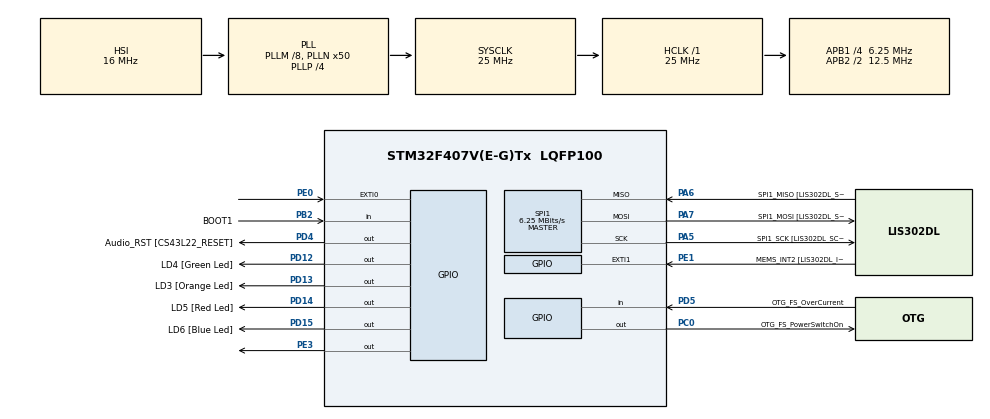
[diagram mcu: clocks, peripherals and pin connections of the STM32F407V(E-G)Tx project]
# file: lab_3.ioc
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Mcu.Family=STM32F4
Mcu.Name=STM32F407V(E-G)Tx
Mcu.Package=LQFP100
NVIC.PriorityGroup=NVIC_PRIORITYGROUP_4
NVIC.TIM7_IRQn=true\:0\:0\:false\:false\:true\:false\:true\:true
NVIC.TimeBase=TIM7_IRQn
NVIC.TimeBaseIP=TIM7
PA10.GPIO_Label=OTG_FS_ID
PA10.GPIO_Mode=GPIO_MODE_AF_PP
PA10.GPIO_PuPd=GPIO_NOPULL
PA10.GPIO_Speed=GPIO_SPEED_FREQ_LOW
PA10.Signal=USB_OTG_FS_ID
PA11.GPIO_Label=OTG_FS_DM
PA11.GPIO_Mode=GPIO_MODE_AF_PP
PA11.GPIO_PuPd=GPIO_NOPULL
PA11.GPIO_Speed=GPIO_SPEED_FREQ_LOW
PA11.Signal=USB_OTG_FS_DM
PA12.GPIO_Label=OTG_FS_DP
PA12.GPIO_Mode=GPIO_MODE_AF_PP
PA12.GPIO_PuPd=GPIO_NOPULL
PA12.GPIO_Speed=GPIO_SPEED_FREQ_LOW
PA12.Signal=USB_OTG_FS_DP
PA13.GPIO_Label=SWDIO
PA13.Mode=Serial_Wire
PA13.Signal=SYS_JTMS-SWDIO
PA14.GPIO_Label=SWCLK
PA14.Mode=Serial_Wire
PA14.Signal=SYS_JTCK-SWCLK
PA4.GPIO_Label=I2S3_WS [CS43L22_LRCK]
PA4.GPIO_Mode=GPIO_MODE_AF_PP
PA4.GPIO_PuPd=GPIO_NOPULL
PA4.GPIO_Speed=GPIO_SPEED_FREQ_LOW
PA4.Signal=I2S3_WS
PA5.GPIO_Label=SPI1_SCK [LIS302DL_SCL/SPC]
PA5.GPIO_Mode=GPIO_MODE_AF_PP
PA5.GPIO_PuPd=GPIO_NOPULL
PA5.GPIO_Speed=GPIO_SPEED_FREQ_LOW
PA5.Mode=Full_Duplex_Master
PA5.Signal=SPI1_SCK
PA6.GPIO_Label=SPI1_MISO [LIS302DL_SDO]
PA6.GPIO_Mode=GPIO_MODE_AF_PP
PA6.GPIO_PuPd=GPIO_NOPULL
PA6.GPIO_Speed=GPIO_SPEED_FREQ_LOW
PA6.Mode=Full_Duplex_Master
PA6.Signal=SPI1_MISO
PA7.GPIO_Label=SPI1_MOSI [LIS302DL_SDA/SDI/SDO]
PA7.GPIO_Mode=GPIO_MODE_AF_PP
PA7.GPIO_PuPd=GPIO_NOPULL
PA7.GPIO_Speed=GPIO_SPEED_FREQ_LOW
PA7.Mode=Full_Duplex_Master
PA7.Signal=SPI1_MOSI
PA9.GPIO_Label=VBUS_FS
PA9.GPIO_Mode=GPIO_MODE_INPUT
PA9.GPIO_PuPd=GPIO_NOPULL
PA9.Signal=USB_OTG_FS_VBUS
PB10.GPIO_Label=CLK_IN [MP45DT02_CLK]
PB10.GPIO_Mode=GPIO_MODE_AF_PP
PB10.GPIO_PuPd=GPIO_NOPULL
PB10.GPIO_Speed=GPIO_SPEED_FREQ_LOW
PB10.Signal=I2S2_CK
PB2.GPIO_Label=BOOT1
PB2.GPIO_Mode=GPIO_MODE_INPUT
PB2.GPIO_PuPd=GPIO_NOPULL
PB2.Signal=GPIO_Input
PB3.GPIO_Label=SWO
PB3.Signal=SYS_JTDO-SWO
PB6.GPIO_Label=Audio_SCL [CS43L22_SCL]
PB6.GPIO_Mode=GPIO_MODE_AF_OD
PB6.GPIO_PuPd=GPIO_NOPULL
PB6.GPIO_Speed=GPIO_SPEED_FREQ_LOW
PB6.Signal=I2C1_SCL
PB9.GPIO_Label=Audio_SDA [CS43L22_SDA]
PB9.GPIO_Mode=GPIO_MODE_AF_OD
PB9.GPIO_PuPd=GPIO_NOPULL
PB9.GPIO_Speed=GPIO_SPEED_FREQ_LOW
PB9.Signal=I2C1_SDA
PC0.GPIO_Label=OTG_FS_PowerSwitchOn
PC0.GPIO_PuPd=GPIO_NOPULL
PC0.GPIO_Speed=GPIO_SPEED_FREQ_LOW
PC0.PinState=GPIO_PIN_SET
PC0.Signal=GPIO_Output
PC10.GPIO_Label=I2S3_SCK [CS43L22_SCLK]
PC10.GPIO_Mode=GPIO_MODE_AF_PP
PC10.GPIO_PuPd=GPIO_NOPULL
PC10.GPIO_Speed=GPIO_SPEED_FREQ_LOW
PC10.Signal=I2S3_CK
PC12.GPIO_Label=I2S3_SD [CS43L22_SDIN]
PC12.GPIO_Mode=GPIO_MODE_AF_PP
PC12.GPIO_PuPd=GPIO_NOPULL
PC12.GPIO_Speed=GPIO_SPEED_FREQ_LOW
PC12.Signal=I2S3_SD
PC14-OSC32_IN.GPIO_Label=PC14-OSC32_IN
PC14-OSC32_IN.Signal=RCC_OSC32_IN
PC15-OSC32_OUT.GPIO_Label=PC15-OSC32_OUT
PC15-OSC32_OUT.Signal=RCC_OSC32_OUT
PC3.GPIO_Label=PDM_OUT [MP45DT02_DOUT]
PC3.GPIO_Mode=GPIO_MODE_AF_PP
PC3.GPIO_PuPd=GPIO_NOPULL
PC3.GPIO_Speed=GPIO_SPEED_FREQ_LOW
PC3.Signal=I2S2_SD
PC7.GPIO_Label=I2S3_MCK [CS43L22_MCLK]
PC7.GPIO_Mode=GPIO_MODE_AF_PP
PC7.GPIO_PuPd=GPIO_NOPULL
PC7.GPIO_Speed=GPIO_SPEED_FREQ_LOW
PC7.Signal=I2S3_MCK
PD12.GPIO_Label=LD4 [Green Led]
PD12.GPIO_PuPd=GPIO_NOPULL
PD12.GPIO_Speed=GPIO_SPEED_FREQ_LOW
PD12.Signal=GPIO_Output
PD13.GPIO_Label=LD3 [Orange Led]
PD13.GPIO_PuPd=GPIO_NOPULL
PD13.GPIO_Speed=GPIO_SPEED_FREQ_LOW
PD13.Signal=GPIO_Output
PD14.GPIO_Label=LD5 [Red Led]
PD14.GPIO_PuPd=GPIO_NOPULL
PD14.GPIO_Speed=GPIO_SPEED_FREQ_LOW
PD14.Signal=GPIO_Output
PD15.GPIO_Label=LD6 [Blue Led]
PD15.GPIO_PuPd=GPIO_NOPULL
PD15.GPIO_Speed=GPIO_SPEED_FREQ_LOW
PD15.Signal=GPIO_Output
PD4.GPIO_Label=Audio_RST [CS43L22_RESET]
PD4.GPIO_PuPd=GPIO_NOPULL
PD4.GPIO_Speed=GPIO_SPEED_FREQ_LOW
PD4.Signal=GPIO_Output
PD5.GPIO_Label=OTG_FS_OverCurrent
PD5.GPIO_Mode=GPIO_MODE_INPUT
PD5.GPIO_PuPd=GPIO_NOPULL
PD5.Signal=GPIO_Input
PE0.Signal=GPXTI0
PE1.GPIO_Label=MEMS_INT2 [LIS302DL_INT2]
PE1.GPIO_ModeDefaultEXTI=GPIO_MODE_EVT_RISING
PE1.GPIO_PuPd=GPIO_NOPULL
PE1.Signal=GPXTI1
PE3.Signal=GPIO_Output
PH0-OSC_IN.GPIO_Label=PH0-OSC_IN
PH0-OSC_IN.Signal=RCC_OSC_IN
PH1-OSC_OUT.GPIO_Label=PH1-OSC_OUT
PH1-OSC_OUT.Signal=RCC_OSC_OUT
ProjectManager.HeapSize=0x200
ProjectManager.StackSize=0x400
ProjectManager.TargetToolchain=STM32CubeIDE
RCC.48MHZClocksFreq_Value=14285714.285714285
RCC.AHBFreq_Value=25000000
RCC.APB1CLKDivider=RCC_HCLK_DIV4
RCC.APB1Freq_Value=6250000
RCC.APB1TimFreq_Value=12500000
RCC.APB2CLKDivider=RCC_HCLK_DIV2
RCC.APB2Freq_Value=12500000
RCC.APB2TimFreq_Value=25000000
RCC.CortexFreq_Value=25000000
RCC.HCLKFreq_Value=25000000
RCC.HSE_VALUE=8000000
RCC.HSI_VALUE=16000000
RCC.LSE_VALUE=32768
RCC.PLLM=8
RCC.PLLN=50
RCC.PLLP=RCC_PLLP_DIV4
RCC.PLLQ=7
RCC.SYSCLKFreq_VALUE=25000000
RCC.SYSCLKSource=RCC_SYSCLKSOURCE_PLLCLK
RCC.VCOOutputFreq_Value=100000000
SPI1.CalculateBaudRate=6.25 MBits/s
SPI1.Direction=SPI_DIRECTION_2LINES
SPI1.Mode=SPI_MODE_MASTER
SPI1.VirtualType=VM_MASTER
VP_SYS_VS_tim7.Mode=TIM7
board=STM32F407G-DISC1

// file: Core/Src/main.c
/* USER CODE BEGIN Header */
/**
  ******************************************************************************
  * @file           : main.c
  * @brief          : Main program body
  ******************************************************************************
  * @attention
  *
  * <h2><center>&copy; Copyright (c) 2021 STMicroelectronics.
  * All rights reserved.</center></h2>
  *
  * This software component is licensed by ST under BSD 3-Clause license,
  * the "License"; You may not use this file except in compliance with the
  * License. You may obtain a copy of the License at:
  *                        opensource.org/licenses/BSD-3-Clause
  *
  ******************************************************************************
  */
/* USER CODE END Header */
#include "main.h"

/* USER CODE BEGIN Includes */
#include "FreeRTOS.h"
#include "task.h"
#include "semphr.h"
/* USER CODE END Includes */

/* USER CODE BEGIN PM */
#define LIS3DSH_WHO_AM_I_ADDR                0x0F
#define LIS3DSH_STAT_ADDR                    0x18
#define LIS3DSH_CTRL_REG4_ADDR               0x20
#define LIS3DSH_CTRL_REG1_ADDR               0x21
#define LIS3DSH_CTRL_REG2_ADDR               0x22
#define LIS3DSH_CTRL_REG3_ADDR               0x23
#define LIS3DSH_CTRL_REG5_ADDR               0x24
#define LIS3DSH_CTRL_REG6_ADDR               0x25

#define LIS3DSH_STATUS_ADDR                  0x27

#define LIS3DSH_OUT_X_L_ADDR                 0x28
#define LIS3DSH_OUT_X_H_ADDR                 0x29
#define LIS3DSH_OUT_Y_L_ADDR                 0x2A
#define LIS3DSH_OUT_Y_H_ADDR                 0x2B
#define LIS3DSH_OUT_Z_L_ADDR                 0x2C
#define LIS3DSH_OUT_Z_H_ADDR                 0x2D

#define LIS3DSH_ST1_1_ADDR                   0x40
#define LIS3DSH_ST1_2_ADDR                   0x41
#define LIS3DSH_THRS1_1_ADDR                 0x57
#define LIS3DSH_MASK1_B_ADDR                 0x59
#define LIS3DSH_MASK1_A_ADDR                 0x5A
#define LIS3DSH_SETT1_ADDR                   0x5B
#define LIS3DSH_OUTS1_ADDR                   0x5F
/* USER CODE END PM */

SPI_HandleTypeDef hspi1;

/* USER CODE BEGIN PV */
uint8_t data;
SemaphoreHandle_t xShakeSemaphore;
//TaskHandle_t xGreenTaskHandle;
//TaskHandle_t xHandlerTaskHandle;
/* USER CODE END PV */

void SystemClock_Config(void);
static void MX_GPIO_Init(void);
static void MX_SPI1_Init(void);

/* USER CODE BEGIN 0 */
void MEMS_Write(uint8_t address,uint8_t data){
	HAL_GPIO_WritePin(GPIOE, GPIO_PIN_3, GPIO_PIN_RESET);
	HAL_SPI_Transmit(&hspi1,&address,1,10);
	HAL_SPI_Transmit(&hspi1,&data,1,10);
	HAL_GPIO_WritePin(GPIOE, GPIO_PIN_3,GPIO_PIN_SET);
}
void MEMS_Read(uint8_t address,uint8_t *data){
    address |= 0x80;
	HAL_GPIO_WritePin(GPIOE,GPIO_PIN_3,GPIO_PIN_RESET);
	HAL_SPI_Transmit(&hspi1,&address,1,10);
	HAL_SPI_Receive(&hspi1,data,1,10);
	HAL_GPIO_WritePin(GPIOE,GPIO_PIN_3,GPIO_PIN_SET);
}

volatile uint8_t orangeBlinking = 0;

void Green_LED_Task(void *pvParameters){
    for(;;)
    {
        if(!orangeBlinking){
            HAL_GPIO_TogglePin(GPIOD, GPIO_PIN_12);
        } else {
            // Ensure green LED is off
            HAL_GPIO_WritePin(GPIOD, GPIO_PIN_12, GPIO_PIN_RESET);
        }
        vTaskDelay(pdMS_TO_TICKS(500));
    }
}

void vHandlerTask(void *pvParameters){
    uint8_t dummy;
    for(;;)
    {
        if (xSemaphoreTake(xShakeSemaphore, portMAX_DELAY) == pdTRUE)
//    	if (ulTaskNotifyTake(pdTRUE, portMAX_DELAY) != 0)
        {
            // Disable interrupt
            HAL_NVIC_DisableIRQ(EXTI0_IRQn);

            orangeBlinking = 1;
            HAL_GPIO_WritePin(GPIOD, GPIO_PIN_12, GPIO_PIN_RESET);

            // Orange LED blinking 5 times
            for(int i = 0; i < 5; i++) {
                HAL_GPIO_WritePin(GPIOD, GPIO_PIN_13, GPIO_PIN_SET);
                vTaskDelay(pdMS_TO_TICKS(200));
                HAL_GPIO_WritePin(GPIOD, GPIO_PIN_13, GPIO_PIN_RESET);
                vTaskDelay(pdMS_TO_TICKS(200));
            }

            // Clear the sensor interrupt status
            MEMS_Read(LIS3DSH_OUTS1_ADDR, &dummy);
            __HAL_GPIO_EXTI_CLEAR_IT(GPIO_PIN_0);

            orangeBlinking = 0;

            // Enable interrupt
            HAL_NVIC_EnableIRQ(EXTI0_IRQn);
        }
    }
}

void HAL_GPIO_EXTI_Callback(uint16_t GPIO_Pin){
	// Ensure the interrupt is from PE0
	if(GPIO_Pin == GPIO_PIN_0)
	{
		/* Red LED toggle (PD14) */
		HAL_GPIO_TogglePin(GPIOD, GPIO_PIN_14);

		/* Give the semaphore to unblock the handler task */
		BaseType_t xHigherPriorityTaskWoken = pdFALSE; // default: no Context Switch
		xSemaphoreGiveFromISR(xShakeSemaphore, &xHigherPriorityTaskWoken);
//		vTaskNotifyGiveFromISR(xHandlerTaskHandle, &xHigherPriorityTaskWoken);

		/* Request a context switch if a higher priority task was woken. */
		portYIELD_FROM_ISR(xHigherPriorityTaskWoken);
	}
}

void EXTI0_IRQHandler(void)
{
    /* EXTI line 0 interrupt handler.
       Clears the pending flag and triggers the HAL callback. */
    HAL_GPIO_EXTI_IRQHandler(GPIO_PIN_0);
}
/* USER CODE END 0 */

int main(void)
{

  /* MCU Configuration--------------------------------------------------------*/

  /* Reset of all peripherals, Initializes the Flash interface and the Systick. */
  HAL_Init();

  /* Configure the system clock */
  SystemClock_Config();

  /* Initialize all configured peripherals */
  MX_GPIO_Init();
  MX_SPI1_Init();
  /* USER CODE BEGIN 2 */
  MEMS_Write(LIS3DSH_CTRL_REG4_ADDR, 0x67);
  MEMS_Write(LIS3DSH_CTRL_REG3_ADDR, 0x48);
  MEMS_Write(LIS3DSH_THRS1_1_ADDR, 0x90);
  MEMS_Write(LIS3DSH_MASK1_B_ADDR, 0xF0);  // P_X, N_X, P_Y, N_Y = 1, P_Z, N_Z = 0
  MEMS_Write(LIS3DSH_MASK1_A_ADDR, 0xF0);
  MEMS_Write(LIS3DSH_SETT1_ADDR, 0x01);
  MEMS_Write(LIS3DSH_ST1_1_ADDR, 0x05);
  MEMS_Write(LIS3DSH_ST1_2_ADDR, 0x11);
  MEMS_Write(LIS3DSH_CTRL_REG1_ADDR, 0x01);

  // Create the semaphore
  xShakeSemaphore = xSemaphoreCreateBinary();

  uint8_t init_dummy;
  MEMS_Read(LIS3DSH_OUTS1_ADDR, &init_dummy);
  __HAL_GPIO_EXTI_CLEAR_IT(GPIO_PIN_0);

  HAL_NVIC_SetPriority(EXTI0_IRQn, configLIBRARY_MAX_SYSCALL_INTERRUPT_PRIORITY, 0);
  HAL_NVIC_EnableIRQ(EXTI0_IRQn);

  // Task create
  xTaskCreate(Green_LED_Task, "GreenTask", 128, NULL, 1, NULL);
  xTaskCreate(vHandlerTask, "HandlerTask", 128, NULL, 2, NULL);
//  xTaskCreate(Green_LED_Task, "GreenTask", 128, NULL, 1, &xGreenTaskHandle);
//  xTaskCreate(vHandlerTask, "HandlerTask", 128, NULL, 2, &xHandlerTaskHandle);
  vTaskStartScheduler();
  /* USER CODE END 2 */

  /* Infinite loop */
  while (1)
  {

  }
}

void SystemClock_Config(void)
{
  RCC_OscInitTypeDef RCC_OscInitStruct = {0};
  RCC_ClkInitTypeDef RCC_ClkInitStruct = {0};

  /** Configure the main internal regulator output voltage
  */
  __HAL_RCC_PWR_CLK_ENABLE();
  __HAL_PWR_VOLTAGESCALING_CONFIG(PWR_REGULATOR_VOLTAGE_SCALE1);

  /** Initializes the RCC Oscillators according to the specified parameters
  * in the RCC_OscInitTypeDef structure.
  */
  RCC_OscInitStruct.OscillatorType = RCC_OSCILLATORTYPE_HSI;
  RCC_OscInitStruct.HSIState = RCC_HSI_ON;
  RCC_OscInitStruct.HSICalibrationValue = RCC_HSICALIBRATION_DEFAULT;
  RCC_OscInitStruct.PLL.PLLState = RCC_PLL_ON;
  RCC_OscInitStruct.PLL.PLLSource = RCC_PLLSOURCE_HSI;
  RCC_OscInitStruct.PLL.PLLM = 8;
  RCC_OscInitStruct.PLL.PLLN = 50;
  RCC_OscInitStruct.PLL.PLLP = RCC_PLLP_DIV4;
  RCC_OscInitStruct.PLL.PLLQ = 7;
  if (HAL_RCC_OscConfig(&RCC_OscInitStruct) != HAL_OK)
  {
    Error_Handler();
  }

  /** Initializes the CPU, AHB and APB buses clocks
  */
  RCC_ClkInitStruct.ClockType = RCC_CLOCKTYPE_HCLK|RCC_CLOCKTYPE_SYSCLK
                              |RCC_CLOCKTYPE_PCLK1|RCC_CLOCKTYPE_PCLK2;
  RCC_ClkInitStruct.SYSCLKSource = RCC_SYSCLKSOURCE_PLLCLK;
  RCC_ClkInitStruct.AHBCLKDivider = RCC_SYSCLK_DIV1;
  RCC_ClkInitStruct.APB1CLKDivider = RCC_HCLK_DIV4;
  RCC_ClkInitStruct.APB2CLKDivider = RCC_HCLK_DIV2;

  if (HAL_RCC_ClockConfig(&RCC_ClkInitStruct, FLASH_LATENCY_0) != HAL_OK)
  {
    Error_Handler();
  }
}

static void MX_SPI1_Init(void)
{

  /* SPI1 parameter configuration*/
  hspi1.Instance = SPI1;
  hspi1.Init.Mode = SPI_MODE_MASTER;
  hspi1.Init.Direction = SPI_DIRECTION_2LINES;
  hspi1.Init.DataSize = SPI_DATASIZE_8BIT;
  hspi1.Init.CLKPolarity = SPI_POLARITY_LOW;
  hspi1.Init.CLKPhase = SPI_PHASE_1EDGE;
  hspi1.Init.NSS = SPI_NSS_SOFT;
  hspi1.Init.BaudRatePrescaler = SPI_BAUDRATEPRESCALER_2;
  hspi1.Init.FirstBit = SPI_FIRSTBIT_MSB;
  hspi1.Init.TIMode = SPI_TIMODE_DISABLE;
  hspi1.Init.CRCCalculation = SPI_CRCCALCULATION_DISABLE;
  hspi1.Init.CRCPolynomial = 10;
  if (HAL_SPI_Init(&hspi1) != HAL_OK)
  {
    Error_Handler();
  }

}

static void MX_GPIO_Init(void)
{
  GPIO_InitTypeDef GPIO_InitStruct = {0};

  /* GPIO Ports Clock Enable */
  __HAL_RCC_GPIOE_CLK_ENABLE();
  __HAL_RCC_GPIOC_CLK_ENABLE();
  __HAL_RCC_GPIOH_CLK_ENABLE();
  __HAL_RCC_GPIOA_CLK_ENABLE();
  __HAL_RCC_GPIOB_CLK_ENABLE();
  __HAL_RCC_GPIOD_CLK_ENABLE();

  /*Configure GPIO pin Output Level */
  HAL_GPIO_WritePin(GPIOE, GPIO_PIN_3, GPIO_PIN_RESET);

  /*Configure GPIO pin Output Level */
  HAL_GPIO_WritePin(OTG_FS_PowerSwitchOn_GPIO_Port, OTG_FS_PowerSwitchOn_Pin, GPIO_PIN_SET);

  /*Configure GPIO pin Output Level */
  HAL_GPIO_WritePin(GPIOD, LD4_Pin|LD3_Pin|LD5_Pin|LD6_Pin
                          |Audio_RST_Pin, GPIO_PIN_RESET);

  /*Configure GPIO pin : PE3 */
  GPIO_InitStruct.Pin = GPIO_PIN_3;
  GPIO_InitStruct.Mode = GPIO_MODE_OUTPUT_PP;
  GPIO_InitStruct.Pull = GPIO_NOPULL;
  GPIO_InitStruct.Speed = GPIO_SPEED_FREQ_LOW;
  HAL_GPIO_Init(GPIOE, &GPIO_InitStruct);

  /*Configure GPIO pin : OTG_FS_PowerSwitchOn_Pin */
  GPIO_InitStruct.Pin = OTG_FS_PowerSwitchOn_Pin;
  GPIO_InitStruct.Mode = GPIO_MODE_OUTPUT_PP;
  GPIO_InitStruct.Pull = GPIO_NOPULL;
  GPIO_InitStruct.Speed = GPIO_SPEED_FREQ_LOW;
  HAL_GPIO_Init(OTG_FS_PowerSwitchOn_GPIO_Port, &GPIO_InitStruct);

  /*Configure GPIO pin : PDM_OUT_Pin */
  GPIO_InitStruct.Pin = PDM_OUT_Pin;
  GPIO_InitStruct.Mode = GPIO_MODE_AF_PP;
  GPIO_InitStruct.Pull = GPIO_NOPULL;
  GPIO_InitStruct.Speed = GPIO_SPEED_FREQ_LOW;
  GPIO_InitStruct.Alternate = GPIO_AF5_SPI2;
  HAL_GPIO_Init(PDM_OUT_GPIO_Port, &GPIO_InitStruct);

  /*Configure GPIO pin : I2S3_WS_Pin */
  GPIO_InitStruct.Pin = I2S3_WS_Pin;
  GPIO_InitStruct.Mode = GPIO_MODE_AF_PP;
  GPIO_InitStruct.Pull = GPIO_NOPULL;
  GPIO_InitStruct.Speed = GPIO_SPEED_FREQ_LOW;
  GPIO_InitStruct.Alternate = GPIO_AF6_SPI3;
  HAL_GPIO_Init(I2S3_WS_GPIO_Port, &GPIO_InitStruct);

  /*Configure GPIO pin : BOOT1_Pin */
  GPIO_InitStruct.Pin = BOOT1_Pin;
  GPIO_InitStruct.Mode = GPIO_MODE_INPUT;
  GPIO_InitStruct.Pull = GPIO_NOPULL;
  HAL_GPIO_Init(BOOT1_GPIO_Port, &GPIO_InitStruct);

  /*Configure GPIO pin : CLK_IN_Pin */
  GPIO_InitStruct.Pin = CLK_IN_Pin;
  GPIO_InitStruct.Mode = GPIO_MODE_AF_PP;
  GPIO_InitStruct.Pull = GPIO_NOPULL;
  GPIO_InitStruct.Speed = GPIO_SPEED_FREQ_LOW;
  GPIO_InitStruct.Alternate = GPIO_AF5_SPI2;
  HAL_GPIO_Init(CLK_IN_GPIO_Port, &GPIO_InitStruct);

  /*Configure GPIO pins : LD4_Pin LD3_Pin LD5_Pin LD6_Pin
                           Audio_RST_Pin */
  GPIO_InitStruct.Pin = LD4_Pin|LD3_Pin|LD5_Pin|LD6_Pin
                          |Audio_RST_Pin;
  GPIO_InitStruct.Mode = GPIO_MODE_OUTPUT_PP;
  GPIO_InitStruct.Pull = GPIO_NOPULL;
  GPIO_InitStruct.Speed = GPIO_SPEED_FREQ_LOW;
  HAL_GPIO_Init(GPIOD, &GPIO_InitStruct);

  /*Configure GPIO pins : I2S3_MCK_Pin I2S3_SCK_Pin I2S3_SD_Pin */
  GPIO_InitStruct.Pin = I2S3_MCK_Pin|I2S3_SCK_Pin|I2S3_SD_Pin;
  GPIO_InitStruct.Mode = GPIO_MODE_AF_PP;
  GPIO_InitStruct.Pull = GPIO_NOPULL;
  GPIO_InitStruct.Speed = GPIO_SPEED_FREQ_LOW;
  GPIO_InitStruct.Alternate = GPIO_AF6_SPI3;
  HAL_GPIO_Init(GPIOC, &GPIO_InitStruct);

  /*Configure GPIO pin : VBUS_FS_Pin */
  GPIO_InitStruct.Pin = VBUS_FS_Pin;
  GPIO_InitStruct.Mode = GPIO_MODE_INPUT;
  GPIO_InitStruct.Pull = GPIO_NOPULL;
  HAL_GPIO_Init(VBUS_FS_GPIO_Port, &GPIO_InitStruct);

  /*Configure GPIO pins : OTG_FS_ID_Pin OTG_FS_DM_Pin OTG_FS_DP_Pin */
  GPIO_InitStruct.Pin = OTG_FS_ID_Pin|OTG_FS_DM_Pin|OTG_FS_DP_Pin;
  GPIO_InitStruct.Mode = GPIO_MODE_AF_PP;
  GPIO_InitStruct.Pull = GPIO_NOPULL;
  GPIO_InitStruct.Speed = GPIO_SPEED_FREQ_LOW;
  GPIO_InitStruct.Alternate = GPIO_AF10_OTG_FS;
  HAL_GPIO_Init(GPIOA, &GPIO_InitStruct);

  /*Configure GPIO pin : OTG_FS_OverCurrent_Pin */
  GPIO_InitStruct.Pin = OTG_FS_OverCurrent_Pin;
  GPIO_InitStruct.Mode = GPIO_MODE_INPUT;
  GPIO_InitStruct.Pull = GPIO_NOPULL;
  HAL_GPIO_Init(OTG_FS_OverCurrent_GPIO_Port, &GPIO_InitStruct);

  /*Configure GPIO pins : Audio_SCL_Pin Audio_SDA_Pin */
  GPIO_InitStruct.Pin = Audio_SCL_Pin|Audio_SDA_Pin;
  GPIO_InitStruct.Mode = GPIO_MODE_AF_OD;
  GPIO_InitStruct.Pull = GPIO_NOPULL;
  GPIO_InitStruct.Speed = GPIO_SPEED_FREQ_LOW;
  GPIO_InitStruct.Alternate = GPIO_AF4_I2C1;
  HAL_GPIO_Init(GPIOB, &GPIO_InitStruct);

  /*Configure GPIO pin : PE0 */
  GPIO_InitStruct.Pin = GPIO_PIN_0;
  GPIO_InitStruct.Mode = GPIO_MODE_IT_RISING;
  GPIO_InitStruct.Pull = GPIO_NOPULL;
  HAL_GPIO_Init(GPIOE, &GPIO_InitStruct);

  /*Configure GPIO pin : MEMS_INT2_Pin */
  GPIO_InitStruct.Pin = MEMS_INT2_Pin;
  GPIO_InitStruct.Mode = GPIO_MODE_EVT_RISING;
  GPIO_InitStruct.Pull = GPIO_NOPULL;
  HAL_GPIO_Init(MEMS_INT2_GPIO_Port, &GPIO_InitStruct);

/* USER CODE BEGIN MX_GPIO_Init_2 */
//  HAL_NVIC_SetPriority(EXTI0_IRQn, 5, 0);
/* USER CODE END MX_GPIO_Init_2 */
}

void HAL_TIM_PeriodElapsedCallback(TIM_HandleTypeDef *htim)
{
  if (htim->Instance == TIM7) {
    HAL_IncTick();
  }
}

void Error_Handler(void)
{
  __disable_irq();
  while (1)
  {
  }
}
